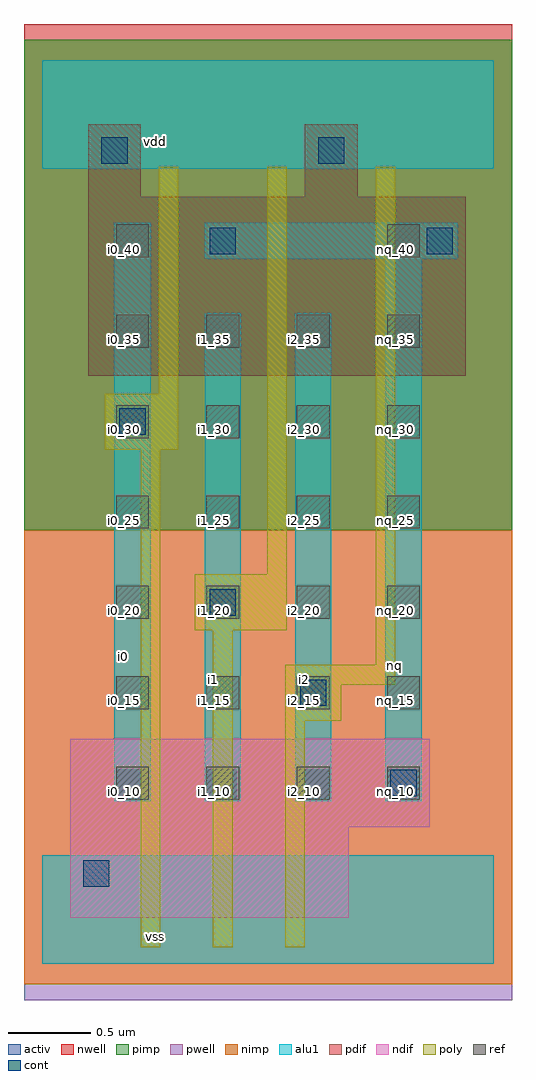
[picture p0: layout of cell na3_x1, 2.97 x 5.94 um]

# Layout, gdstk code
import gdstk
lib = gdstk.Library(unit=1e-6, precision=2.5e-09)
def R(c, l, rs):  # rectangles x0, y0, x1, y1
    for r in rs: c.add(gdstk.rectangle(r[:2], r[2:], *l))
def A(c, l, x, y, w, h, nx, ny, dx, dy):  # array of equal rectangles
    R(c, l, [(x+i*dx, y+j*dy, x+i*dx+w, y+j*dy+h) for i in range(nx) for j in range(ny)])
ndif = (3, 0)
pdif = (4, 0)
ref = (24, 0)
cont = (25, 0)
pwell = (41, 0)
nwell = (42, 0)
activ = (43, 0)
pimp = (44, 0)
nimp = (45, 0)
poly = (46, 0)
alu1 = (49, 0)

na3_x1 = lib.new_cell('na3_x1')
R(na3_x1, ndif, [(0.17,0.28,1.865,0.83), (0.17,0.28,1.865,0.83), (0.17,0.83,2.36,1.37), (0.17,0.83,2.36,1.37)])
R(na3_x1, pdif, [(0.28,3.58,2.58,4.67), (0.28,3.58,2.58,4.67), (0.28,4.67,0.6,5.11), (0.28,4.67,0.6,5.11), (1.6,4.67,1.92,5.11), (1.6,4.67,1.92,5.11)])
A(na3_x1, ref, 0.45, 1, 0.2, 0.2, 4, 6, 0.55, 0.55)
R(na3_x1, ref, [(0.45,4.3,0.65,4.5), (2.1,4.3,2.3,4.5)])
R(na3_x1, cont, [(0.25,0.47,0.41,0.63), (2.12,1.02,2.28,1.18), (1.57,1.57,1.73,1.73), (1.02,2.12,1.18,2.28), (0.47,3.22,0.63,3.38), (1.02,4.32,1.18,4.48), (2.34,4.32,2.5,4.48), (0.36,4.87,0.52,5.03), (1.68,4.87,1.84,5.03)])
R(na3_x1, pwell, [(-0.11,-0.22,2.86,2.64)])
R(na3_x1, nwell, [(-0.11,2.64,2.86,5.72)])
R(na3_x1, activ, [(0.17,0.28,1.865,0.83), (0.17,0.28,1.865,0.83), (0.17,0.83,2.36,1.37), (0.17,0.83,2.36,1.37), (0.28,3.58,2.58,4.67), (0.28,3.58,2.58,4.67), (0.28,4.67,0.6,5.11), (0.28,4.67,0.6,5.11), (1.6,4.67,1.92,5.11), (1.6,4.67,1.92,5.11)])
R(na3_x1, pimp, [(-0.11,2.64,2.86,5.625)])
R(na3_x1, nimp, [(-0.11,-0.125,2.86,2.64)])
R(na3_x1, poly, [(0.6,0.1,0.72,3.13), (1.04,0.1,1.16,2.03), (1.48,0.1,1.6,1.48), (1.48,1.48,1.82,1.7), (1.48,1.7,2.15,1.82), (2.03,1.82,2.15,4.85), (0.93,2.03,1.49,2.37), (1.37,2.37,1.49,4.85), (0.38,3.13,0.83,3.47), (0.71,3.47,0.83,4.85)])
R(na3_x1, alu1, [(0,0,2.75,0.66), (0.44,0.99,0.66,4.51), (0.99,0.99,1.21,3.96), (1.54,0.99,1.76,3.96), (2.09,0.99,2.31,4.29), (0.99,4.29,2.53,4.51), (0,4.84,2.75,5.5)])
na3_x1.add(gdstk.Label('vss', (0.6875,0.165), layer=49, texttype=0))
na3_x1.add(gdstk.Label('nq', (2.145,1.815), layer=49, texttype=0))
na3_x1.add(gdstk.Label('i2', (1.595,1.7325), layer=49, texttype=0))
na3_x1.add(gdstk.Label('i1', (1.045,1.7325), layer=49, texttype=0))
na3_x1.add(gdstk.Label('i0', (0.495,1.87), layer=49, texttype=0))
na3_x1.add(gdstk.Label('vdd', (0.6875,5.005), layer=49, texttype=0))
na3_x1.add(gdstk.Label('nq_40', (2.15,4.35), layer=24, texttype=0))
na3_x1.add(gdstk.Label('nq_35', (2.15,3.8), layer=24, texttype=0))
na3_x1.add(gdstk.Label('nq_25', (2.15,2.7), layer=24, texttype=0))
na3_x1.add(gdstk.Label('nq_30', (2.15,3.25), layer=24, texttype=0))
na3_x1.add(gdstk.Label('nq_20', (2.15,2.15), layer=24, texttype=0))
na3_x1.add(gdstk.Label('nq_15', (2.15,1.6), layer=24, texttype=0))
na3_x1.add(gdstk.Label('nq_10', (2.15,1.05), layer=24, texttype=0))
na3_x1.add(gdstk.Label('i0_40', (0.5,4.35), layer=24, texttype=0))
na3_x1.add(gdstk.Label('i0_35', (0.5,3.8), layer=24, texttype=0))
na3_x1.add(gdstk.Label('i0_30', (0.5,3.25), layer=24, texttype=0))
na3_x1.add(gdstk.Label('i0_25', (0.5,2.7), layer=24, texttype=0))
na3_x1.add(gdstk.Label('i0_20', (0.5,2.15), layer=24, texttype=0))
na3_x1.add(gdstk.Label('i0_15', (0.5,1.6), layer=24, texttype=0))
na3_x1.add(gdstk.Label('i0_10', (0.5,1.05), layer=24, texttype=0))
na3_x1.add(gdstk.Label('i1_35', (1.05,3.8), layer=24, texttype=0))
na3_x1.add(gdstk.Label('i1_30', (1.05,3.25), layer=24, texttype=0))
na3_x1.add(gdstk.Label('i1_25', (1.05,2.7), layer=24, texttype=0))
na3_x1.add(gdstk.Label('i1_20', (1.05,2.15), layer=24, texttype=0))
na3_x1.add(gdstk.Label('i1_15', (1.05,1.6), layer=24, texttype=0))
na3_x1.add(gdstk.Label('i1_10', (1.05,1.05), layer=24, texttype=0))
na3_x1.add(gdstk.Label('i2_35', (1.6,3.8), layer=24, texttype=0))
na3_x1.add(gdstk.Label('i2_30', (1.6,3.25), layer=24, texttype=0))
na3_x1.add(gdstk.Label('i2_25', (1.6,2.7), layer=24, texttype=0))
na3_x1.add(gdstk.Label('i2_20', (1.6,2.15), layer=24, texttype=0))
na3_x1.add(gdstk.Label('i2_15', (1.6,1.6), layer=24, texttype=0))
na3_x1.add(gdstk.Label('i2_10', (1.6,1.05), layer=24, texttype=0))

lib.write_gds('na3_x1.gds')
